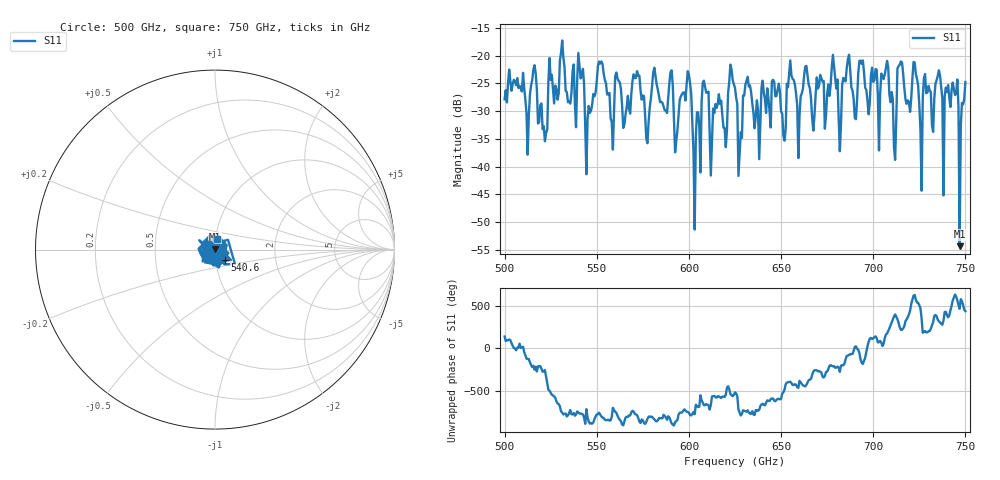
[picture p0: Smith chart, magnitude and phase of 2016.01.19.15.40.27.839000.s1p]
!Created with skrf (http://scikit-rf.org).
# GHz S RI R 50.0
!freq ReS11 ImS11
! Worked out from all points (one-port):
!   401 points, 500 GHz to 750 GHz, reference 50 ohm
!   lowest |S11| = -54.3 dB at 746.9 GHz (marker M1), VSWR 1.00, Z = 49.9 + j0.182 ohm
!   |S11| at or under -10 dB: start of sweep to end of sweep
!   S11 on the Smith chart (normalised r, x): 500 GHz: 0.94, +0.05; 540.6 GHz: 1.11, -0.13; 750 GHz: 1.01, +0.12
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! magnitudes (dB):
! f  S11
! 500 GHz  -27.9
! 516.2 GHz  -21.7
! 521.9 GHz  -35.4
! 531.2 GHz  -17.2
! 540.6 GHz  -21.9
! 545 GHz  -31.4
! 551.9 GHz  -21.4
! 558.1 GHz  -31.9
! 562.5 GHz  -24.8
! 577.5 GHz  -35.8
! 590 GHz  -23.0
! 593.8 GHz  -33.5
! 600 GHz  -23.4
! 603.1 GHz  -51.3
! 608.8 GHz  -25.6
! 612.5 GHz  -35.8
! 625 GHz  -25.8
! 627.5 GHz  -37.6
! 631.9 GHz  -23.8
! 651.2 GHz  -34.4
! 656.2 GHz  -24.2
! 678.8 GHz  -22.0
! 681.2 GHz  -31.3
! 687.5 GHz  -22.5
! 718.8 GHz  -28.0
! 735.6 GHz  -22.6
! 746.9 GHz  -54.3
! 750 GHz  -24.7
